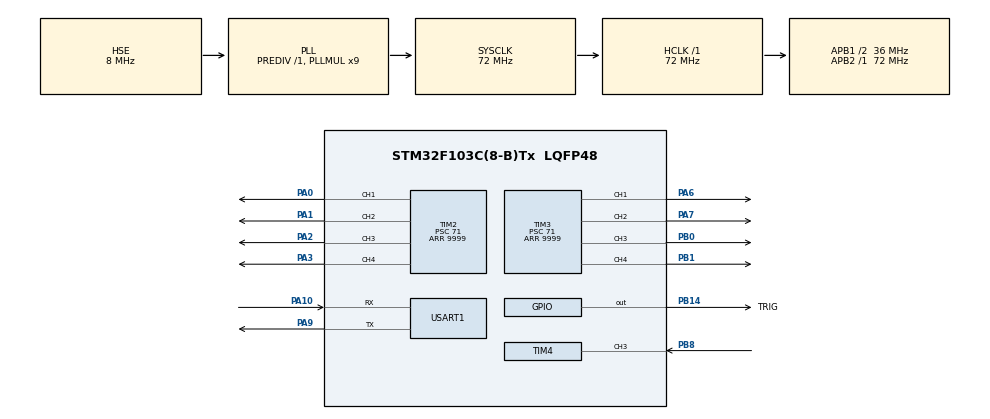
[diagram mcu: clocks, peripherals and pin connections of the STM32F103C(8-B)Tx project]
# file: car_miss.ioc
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Mcu.Family=STM32F1
Mcu.Name=STM32F103C(8-B)Tx
Mcu.Package=LQFP48
NVIC.PriorityGroup=NVIC_PRIORITYGROUP_4
PA0-WKUP.Signal=S_TIM2_CH1_ETR
PA1.Signal=S_TIM2_CH2
PA10.Mode=Asynchronous
PA10.Signal=USART1_RX
PA13.Mode=Serial_Wire
PA13.Signal=SYS_JTMS-SWDIO
PA14.Mode=Serial_Wire
PA14.Signal=SYS_JTCK-SWCLK
PA2.Signal=S_TIM2_CH3
PA3.Signal=S_TIM2_CH4
PA6.Signal=S_TIM3_CH1
PA7.Signal=S_TIM3_CH2
PA9.Mode=Asynchronous
PA9.Signal=USART1_TX
PB0.Signal=S_TIM3_CH3
PB1.Signal=S_TIM3_CH4
PB14.GPIO_Label=TRIG
PB14.Signal=GPIO_Output
PB8.Signal=S_TIM4_CH3
PD0-OSC_IN.Mode=HSE-External-Oscillator
PD0-OSC_IN.Signal=RCC_OSC_IN
PD1-OSC_OUT.Mode=HSE-External-Oscillator
PD1-OSC_OUT.Signal=RCC_OSC_OUT
ProjectManager.HeapSize=0x200
ProjectManager.StackSize=0x400
ProjectManager.TargetToolchain=MDK-ARM V5.32
RCC.AHBFreq_Value=72000000
RCC.APB1CLKDivider=RCC_HCLK_DIV2
RCC.APB1Freq_Value=36000000
RCC.APB1TimFreq_Value=72000000
RCC.APB2Freq_Value=72000000
RCC.APB2TimFreq_Value=72000000
RCC.HCLKFreq_Value=72000000
RCC.PLLMUL=RCC_PLL_MUL9
RCC.PLLSourceVirtual=RCC_PLLSOURCE_HSE
RCC.SYSCLKFreq_VALUE=72000000
RCC.SYSCLKSource=RCC_SYSCLKSOURCE_PLLCLK
RCC.USBFreq_Value=72000000
SH.S_TIM2_CH1_ETR.0=TIM2_CH1,PWM Generation1 CH1
SH.S_TIM2_CH2.0=TIM2_CH2,PWM Generation2 CH2
SH.S_TIM2_CH3.0=TIM2_CH3,PWM Generation3 CH3
SH.S_TIM2_CH4.0=TIM2_CH4,PWM Generation4 CH4
SH.S_TIM3_CH1.0=TIM3_CH1,PWM Generation1 CH1
SH.S_TIM3_CH2.0=TIM3_CH2,PWM Generation2 CH2
SH.S_TIM3_CH3.0=TIM3_CH3,PWM Generation3 CH3
SH.S_TIM3_CH4.0=TIM3_CH4,PWM Generation4 CH4
SH.S_TIM4_CH3.0=TIM4_CH3,Input_Capture3_from_TI3
TIM2.Channel-PWM\ Generation1\ CH1=TIM_CHANNEL_1
TIM2.Channel-PWM\ Generation2\ CH2=TIM_CHANNEL_2
TIM2.Channel-PWM\ Generation3\ CH3=TIM_CHANNEL_3
TIM2.Channel-PWM\ Generation4\ CH4=TIM_CHANNEL_4
TIM2.Period=9999
TIM2.Prescaler=71
TIM3.Channel-PWM\ Generation1\ CH1=TIM_CHANNEL_1
TIM3.Channel-PWM\ Generation2\ CH2=TIM_CHANNEL_2
TIM3.Channel-PWM\ Generation3\ CH3=TIM_CHANNEL_3
TIM3.Channel-PWM\ Generation4\ CH4=TIM_CHANNEL_4
TIM3.Period=9999
TIM3.Prescaler=71
TIM4.Channel-Input_Capture3_from_TI3=TIM_CHANNEL_3
TIM4.Prescaler=71
USART1.VirtualMode=VM_ASYNC
VP_TIM4_VS_ClockSourceINT.Mode=Internal
board=custom

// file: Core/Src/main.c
/* USER CODE BEGIN Header */
/**
  ******************************************************************************
  * @file           : main.c
  * @brief          : Main program body
  ******************************************************************************
  * @attention
  *
  * Copyright (c) 2023 STMicroelectronics.
  * All rights reserved.
  *
  * This software is licensed under terms that can be found in the LICENSE file
  * in the root directory of this software component.
  * If no LICENSE file comes with this software, it is provided AS-IS.
  *
  ******************************************************************************
  */
/* USER CODE END Header */
#include "main.h"
#include "tim.h"
#include "usart.h"
#include "gpio.h"

/* USER CODE BEGIN Includes */
#include "MOTOR.h"
#include "stdio.h"
/* USER CODE END Includes */

/* USER CODE BEGIN PM */
uint8_t IS_FIRST_CAPTURED = 0;
uint32_t IC_Val1=0;
uint32_t IC_Val2=0;
uint32_t Difference=0;
uint16_t Distance=0;
/* USER CODE END PM */

void SystemClock_Config(void);
/* USER CODE BEGIN PFP */
uint16_t HCSR04_Read(void );
/* USER CODE END PFP */

int main(void)
{

  /* MCU Configuration--------------------------------------------------------*/

  /* Reset of all peripherals, Initializes the Flash interface and the Systick. */
  HAL_Init();

  /* Configure the system clock */
  SystemClock_Config();

  /* Initialize all configured peripherals */
  MX_GPIO_Init();
  MX_TIM2_Init();
  MX_TIM3_Init();
  MX_TIM4_Init();
  MX_USART1_UART_Init();
  /* USER CODE BEGIN 2 */
	 printf("Are you ready?\r\n");
  HAL_TIM_Base_Start(&htim2);
	HAL_TIM_Base_Start(&htim3);
	HAL_TIM_Base_Start(&htim4);
	HAL_TIM_PWM_Start(&htim2,TIM_CHANNEL_1);
	HAL_TIM_PWM_Start(&htim2,TIM_CHANNEL_2);
	HAL_TIM_PWM_Start(&htim2,TIM_CHANNEL_3);
	HAL_TIM_PWM_Start(&htim2,TIM_CHANNEL_4);
	HAL_TIM_PWM_Start(&htim3,TIM_CHANNEL_1);
	HAL_TIM_PWM_Start(&htim3,TIM_CHANNEL_2);
	HAL_TIM_PWM_Start(&htim3,TIM_CHANNEL_3);
	HAL_TIM_PWM_Start(&htim3,TIM_CHANNEL_4);
	HAL_TIM_PWM_Start(&htim4,TIM_CHANNEL_1);
	HAL_TIM_PWM_Start(&htim4,TIM_CHANNEL_3);
  /* USER CODE END 2 */

  /* Infinite loop */
  while (1)
  {

    /* USER CODE BEGIN 3 */
		HCSR04_Read();
		printf ("distance = %d cm \r\n",Distance);
		if(Distance<50)
		{
			OK();
			HAL_Delay(1000);
			LEFT();
			HAL_Delay(3000);
			OK();
		}
  }
  /* USER CODE END 3 */
}

void SystemClock_Config(void)
{
  RCC_OscInitTypeDef RCC_OscInitStruct = {0};
  RCC_ClkInitTypeDef RCC_ClkInitStruct = {0};

  /** Initializes the RCC Oscillators according to the specified parameters
  * in the RCC_OscInitTypeDef structure.
  */
  RCC_OscInitStruct.OscillatorType = RCC_OSCILLATORTYPE_HSE;
  RCC_OscInitStruct.HSEState = RCC_HSE_ON;
  RCC_OscInitStruct.HSEPredivValue = RCC_HSE_PREDIV_DIV1;
  RCC_OscInitStruct.HSIState = RCC_HSI_ON;
  RCC_OscInitStruct.PLL.PLLState = RCC_PLL_ON;
  RCC_OscInitStruct.PLL.PLLSource = RCC_PLLSOURCE_HSE;
  RCC_OscInitStruct.PLL.PLLMUL = RCC_PLL_MUL9;
  if (HAL_RCC_OscConfig(&RCC_OscInitStruct) != HAL_OK)
  {
    Error_Handler();
  }

  /** Initializes the CPU, AHB and APB buses clocks
  */
  RCC_ClkInitStruct.ClockType = RCC_CLOCKTYPE_HCLK|RCC_CLOCKTYPE_SYSCLK
                              |RCC_CLOCKTYPE_PCLK1|RCC_CLOCKTYPE_PCLK2;
  RCC_ClkInitStruct.SYSCLKSource = RCC_SYSCLKSOURCE_PLLCLK;
  RCC_ClkInitStruct.AHBCLKDivider = RCC_SYSCLK_DIV1;
  RCC_ClkInitStruct.APB1CLKDivider = RCC_HCLK_DIV2;
  RCC_ClkInitStruct.APB2CLKDivider = RCC_HCLK_DIV1;

  if (HAL_RCC_ClockConfig(&RCC_ClkInitStruct, FLASH_LATENCY_2) != HAL_OK)
  {
    Error_Handler();
  }
}

/* USER CODE BEGIN 4 */
void delay_us(uint16_t us)
{
	__HAL_TIM_SET_COUNTER (&htim4 ,10);
	while(__HAL_TIM_GET_COUNTER (&htim4 )<us );
}

uint16_t HCSR04_Read(void )
{
	HAL_GPIO_WritePin (TRIG_GPIO_Port ,TRIG_Pin ,GPIO_PIN_RESET );
	delay_us (2);
	HAL_GPIO_WritePin (TRIG_GPIO_Port ,TRIG_Pin ,GPIO_PIN_SET );
	delay_us (12);
	HAL_GPIO_WritePin (TRIG_GPIO_Port ,TRIG_Pin ,GPIO_PIN_RESET );
	__HAL_TIM_ENABLE_IT (&htim4 ,TIM_IT_CC3 );
//	HAL_TIM_IC_Start_IT(&htim2,TIM_CHANNEL_3);
	HAL_Delay (100);
	return Distance ;
}
void HAL_TIM_IC_CaptureCallback(TIM_HandleTypeDef *htim)
{
	if(htim ->Channel ==HAL_TIM_ACTIVE_CHANNEL_3 )
	{
		if(IS_FIRST_CAPTURED ==0)
		{
			IS_FIRST_CAPTURED =1;
			IC_Val1 =	HAL_TIM_ReadCapturedValue (&htim4 ,TIM_CHANNEL_3 );//读取当前值
			__HAL_TIM_SET_CAPTUREPOLARITY (&htim4 ,TIM_CHANNEL_3 ,TIM_INPUTCHANNELPOLARITY_FALLING );//下降沿
		}
		else if (IS_FIRST_CAPTURED ==1)
		{
			IS_FIRST_CAPTURED =0;
			IC_Val2 =	HAL_TIM_ReadCapturedValue (&htim4 ,TIM_CHANNEL_3 );
			__HAL_TIM_SET_COUNTER (&htim4 ,0);

			if(IC_Val1 <IC_Val2 )
			{
				Difference=IC_Val2 -IC_Val1 ;
			}
			else if(IC_Val1 >IC_Val2)
			{
				Difference=0xffff- IC_Val1 +IC_Val2 ;
			}
		Distance = Difference *0.017;
		__HAL_TIM_SET_CAPTUREPOLARITY (&htim4 ,TIM_CHANNEL_3 ,TIM_INPUTCHANNELPOLARITY_RISING );//上升沿
		__HAL_TIM_DISABLE_IT (&htim4 ,TIM_IT_CC3 );
//			HAL_TIM_IC_Stop_IT(&htim2,TIM_CHANNEL_3);

		 }
		}
	}
int fputc(int ch,FILE *f)
{
	HAL_UART_Transmit(&huart1,(uint8_t*)&ch,1,HAL_MAX_DELAY);
	return ch;

}
int fgetc(FILE *f)
{
	uint8_t ch;
	HAL_UART_Receive(&huart1,(uint8_t*)&ch,1,HAL_MAX_DELAY);
		return ch;

}
/* USER CODE END 4 */

void Error_Handler(void)
{
  __disable_irq();
  while (1)
  {
  }
}
